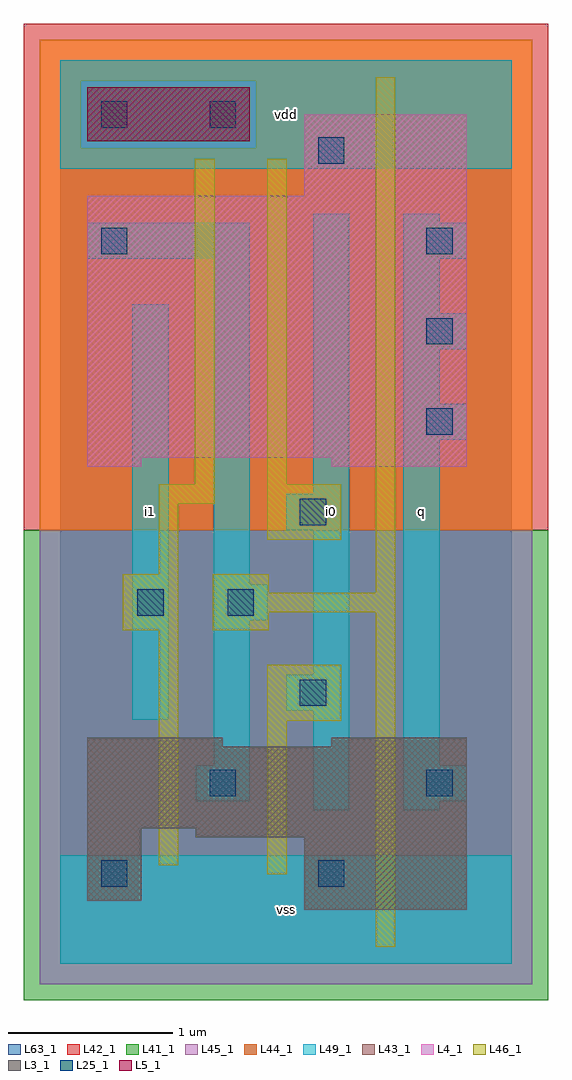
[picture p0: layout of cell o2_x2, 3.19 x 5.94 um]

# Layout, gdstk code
import gdstk
lib = gdstk.Library(unit=1e-6, precision=1e-09)
def R(c, l, rs):  # rectangles x0, y0, x1, y1
    for r in rs: c.add(gdstk.rectangle(r[:2], r[2:], *l))
def A(c, l, x, y, w, h, nx, ny, dx, dy):  # array of equal rectangles
    R(c, l, [(x+i*dx, y+j*dy, x+i*dx+w, y+j*dy+h) for i in range(nx) for j in range(ny)])
L3_1 = (3, 1)
L4_1 = (4, 1)
L5_1 = (5, 1)
L25_1 = (25, 1)
L41_1 = (41, 1)
L42_1 = (42, 1)
L43_1 = (43, 1)
L44_1 = (44, 1)
L45_1 = (45, 1)
L46_1 = (46, 1)
L49_1 = (49, 1)
L63_1 = (63, 1)

o2_x2 = lib.new_cell('o2_x2')
R(o2_x2, L3_1, [(1.485,0.33,2.475,0.77), (0.165,0.385,0.495,0.825), (0.825,0.77,2.475,0.825), (0.165,0.825,2.475,1.32), (0.165,1.32,0.99,1.375), (1.65,1.32,2.475,1.375)])
R(o2_x2, L4_1, [(0.165,3.025,0.495,3.08), (1.65,3.025,2.475,3.08), (0.165,3.08,2.475,4.675), (1.485,4.675,2.475,5.17)])
R(o2_x2, L5_1, [(0.165,5.005,1.155,5.335)])
A(o2_x2, L25_1, 2.23, 3.22, 0.16, 0.16, 1, 3, 0, 0.55)
R(o2_x2, L25_1, [(0.25,0.47,0.41,0.63), (1.57,0.47,1.73,0.63), (0.91,1.02,1.07,1.18), (2.23,1.02,2.39,1.18), (1.46,1.57,1.62,1.73), (0.47,2.12,0.63,2.28), (1.02,2.12,1.18,2.28), (1.46,2.67,1.62,2.83), (0.25,4.32,0.41,4.48), (1.57,4.87,1.73,5.03), (0.25,5.09,0.41,5.25), (0.91,5.09,1.07,5.25)])
R(o2_x2, L41_1, [(-0.22,-0.22,2.97,2.64)])
R(o2_x2, L42_1, [(-0.22,2.64,2.97,5.72)])
R(o2_x2, L43_1, [(1.485,0.33,2.475,0.77), (0.165,0.385,0.495,0.825), (0.825,0.77,2.475,0.825), (0.165,0.825,2.475,1.32), (0.165,1.32,0.99,1.375), (1.65,1.32,2.475,1.375), (0.165,3.025,0.495,3.08), (1.65,3.025,2.475,3.08), (0.165,3.08,2.475,4.675), (1.485,4.675,2.475,5.17), (0.165,5.005,1.155,5.335)])
R(o2_x2, L44_1, [(-0.125,2.64,2.875,4.965), (-0.125,4.965,0.125,5.375), (1.195,4.965,2.875,5.375), (-0.125,5.375,2.875,5.625)])
R(o2_x2, L45_1, [(-0.125,-0.125,2.875,2.64), (0.125,4.965,1.195,5.375)])
R(o2_x2, L46_1, [(1.92,0.105,2.04,2.14), (1.26,0.545,1.38,1.48), (0.6,0.6,0.72,2.03), (1.26,1.48,1.71,1.82), (0.38,2.03,0.72,2.37), (0.93,2.03,1.27,2.14), (0.93,2.14,2.04,2.26), (0.93,2.26,1.27,2.37), (1.92,2.26,2.04,5.395), (0.6,2.37,0.72,2.8), (1.26,2.58,1.71,2.92), (0.6,2.8,0.94,2.92), (0.82,2.92,0.94,4.9), (1.26,2.92,1.38,4.9)])
A(o2_x2, L49_1, 2.09, 3.19, 0.385, 0.22, 1, 3, 0, 0.55)
R(o2_x2, L49_1, [(0,0,2.75,0.66), (1.54,0.935,1.76,1.54), (2.09,0.935,2.31,0.99), (0.825,0.99,1.155,1.21), (2.09,0.99,2.475,1.21), (0.935,1.21,1.155,2.09), (2.09,1.21,2.31,3.19), (0.44,1.485,0.66,4.015), (1.375,1.54,1.76,1.76), (1.54,1.76,1.76,2.64), (0.935,2.09,1.265,2.31), (0.935,2.31,1.155,4.29), (1.375,2.64,1.76,2.86), (1.54,2.86,1.76,4.565), (2.09,3.41,2.31,3.74), (2.09,3.96,2.31,4.29), (0.165,4.29,1.155,4.51), (2.09,4.51,2.31,4.565), (0,4.84,2.75,5.5)])
R(o2_x2, L63_1, [(0,0,2.75,5.5)])
o2_x2.add(gdstk.Label('i1', (0.55,2.75), layer=49, texttype=1))
o2_x2.add(gdstk.Label('vss', (1.375,0.33), layer=49, texttype=1))
o2_x2.add(gdstk.Label('i0', (1.65,2.75), layer=49, texttype=1))
o2_x2.add(gdstk.Label('vdd', (1.375,5.17), layer=49, texttype=1))
o2_x2.add(gdstk.Label('q', (2.2,2.75), layer=49, texttype=1))

lib.write_gds('o2_x2.gds')
